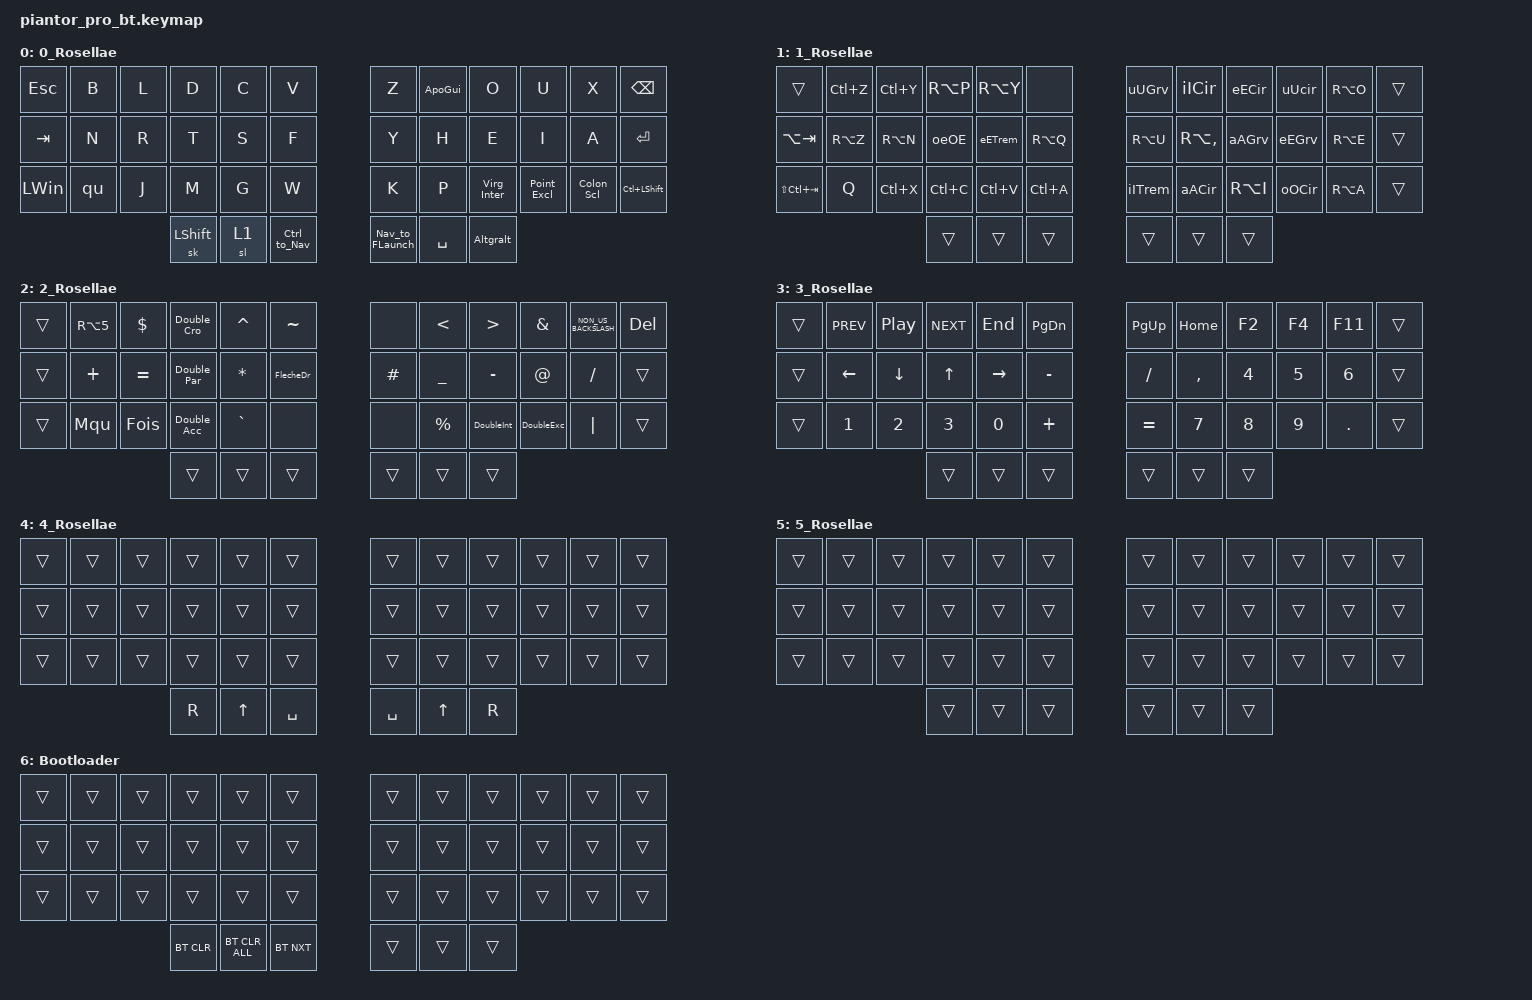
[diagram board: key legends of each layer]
/*
 * Copyright (c) 2020 The ZMK Contributors
 *
 * SPDX-License-Identifier: MIT
 */

#include <behaviors.dtsi>
#include <dt-bindings/zmk/bt.h>
#include <dt-bindings/zmk/keys.h>

/ {
    chosen {
        zmk,physical-layout = &default_layout;
    };
};

/ {
    behaviors {
        Virg_Inter: Virg_Inter {
            compatible = "zmk,behavior-mod-morph";
            label = "VIRG_INTER";
            #binding-cells = <0>;
            bindings = <&kp COMMA>, <&kp QUESTION>;
            mods = <(MOD_LSFT)>;
        };

        Point_Excl: Point_Excl {
            compatible = "zmk,behavior-mod-morph";
            label = "POINT_EXCL";
            #binding-cells = <0>;
            bindings = <&kp PERIOD>, <&kp EXCL>;
            mods = <(MOD_LSFT)>;
        };

        Colon_Scl: Colon_Scl {
            compatible = "zmk,behavior-mod-morph";
            label = "COLON_SCL";
            #binding-cells = <0>;
            bindings = <&kp COLON>, <&kp SEMICOLON>;
            mods = <(MOD_LSFT)>;
        };

        ApoGui: ApoGui {
            compatible = "zmk,behavior-mod-morph";
            label = "APOGUI";
            #binding-cells = <0>;
            bindings = <&ApoSpc>, <&GuiSpc>;
            mods = <(MOD_LSFT)>;
        };

        eETrem: eETrem {
            compatible = "zmk,behavior-mod-morph";
            label = "EETREM";
            #binding-cells = <0>;
            bindings = <&eTrem>, <&cETrem>;
            mods = <(MOD_LSFT)>;
        };

        iITrem: iITrem {
            compatible = "zmk,behavior-mod-morph";
            label = "IITREM";
            #binding-cells = <0>;
            bindings = <&iTrem>, <&cITrem>;
            mods = <(MOD_LSFT)>;
        };

        iICir: iICir {
            compatible = "zmk,behavior-mod-morph";
            label = "IICIR";
            #binding-cells = <0>;
            bindings = <&iCir>, <&cICir>;
            mods = <(MOD_LSFT)>;
        };

        aACir: aACir {
            compatible = "zmk,behavior-mod-morph";
            label = "AACIR";
            #binding-cells = <0>;
            bindings = <&aCir>, <&cACir>;
            mods = <(MOD_LSFT)>;
        };

        oOCir: oOCir {
            compatible = "zmk,behavior-mod-morph";
            label = "OOCIR";
            #binding-cells = <0>;
            bindings = <&oCir>, <&cOCir>;
            mods = <(MOD_LSFT)>;
        };

        eECir: eECir {
            compatible = "zmk,behavior-mod-morph";
            label = "EECIR";
            #binding-cells = <0>;
            bindings = <&eCir>, <&cECir>;
            mods = <(MOD_LSFT)>;
        };

        uUcir: uUcir {
            compatible = "zmk,behavior-mod-morph";
            label = "UUCIR";
            #binding-cells = <0>;
            bindings = <&uCir>, <&cUcir>;
            mods = <(MOD_LSFT)>;
        };

        aAGrv: aAGrv {
            compatible = "zmk,behavior-mod-morph";
            label = "AAGRV";
            #binding-cells = <0>;
            bindings = <&aGrv>, <&cAGrv>;
            mods = <(MOD_LSFT)>;
        };

        eEGrv: eEGrv {
            compatible = "zmk,behavior-mod-morph";
            label = "EEGRV";
            #binding-cells = <0>;
            bindings = <&eGrv>, <&cEGrv>;
            mods = <(MOD_LSFT)>;
        };

        uUGrv: uUGrv {
            compatible = "zmk,behavior-mod-morph";
            label = "UUGRV";
            #binding-cells = <0>;
            bindings = <&uGrv>, <&cUGrv>;
            mods = <(MOD_LSFT)>;
        };

        oeOE: oeOE {
            compatible = "zmk,behavior-mod-morph";
            label = "OEOE";
            #binding-cells = <0>;
            bindings = <&oe>, <&cOE>;
            mods = <(MOD_LSFT)>;
        };

        Altgralt: Altgralt {
            compatible = "zmk,behavior-tap-dance";
            label = "ALTGRALT";
            #binding-cells = <0>;
            bindings = <&mo 2>, <&kp LEFT_ALT>;
        };

        Ctrl_to_Nav: Ctrl_to_Nav {
            compatible = "zmk,behavior-tap-dance";
            label = "CTRL_TO_NAV";
            #binding-cells = <0>;
            bindings = <&kp LCTRL>, <&mo 3>;
        };

        Nav_to_FLaunch: Nav_to_FLaunch {
            compatible = "zmk,behavior-tap-dance";
            label = "NAV_TO_FLAUNCH";
            #binding-cells = <0>;
            bindings = <&mo 3>, <&kp LA(SPACE)>;
        };
    };

    macros {
        qu: qu {
            compatible = "zmk,behavior-macro";
            label = "QU";
            #binding-cells = <0>;
            wait-ms = <1>;
            tap-ms = <1>;
            bindings = <&kp Q &kp U>;
        };

        Mqu: Mqu {
            compatible = "zmk,behavior-macro";
            label = "MQU";
            #binding-cells = <0>;
            wait-ms = <1>;
            tap-ms = <1>;
            bindings = <&kp LS(Q) &kp U>;
        };

        /* Literal ' : dead acute + SPACE. No held modifier. Requires host US-International. */
        ApoSpc: Apo_Gui {
            compatible = "zmk,behavior-macro";
            label = "APO_GUI";
            #binding-cells = <0>;
            wait-ms = <1>;
            tap-ms = <1>;
            bindings = <&macro_tap>, <&kp APOSTROPHE &kp SPACE>;
        };

        /* Literal " : dead diaeresis + SPACE. */
        GuiSpc: GuiSpc {
            compatible = "zmk,behavior-macro";
            label = "GUISPC";
            #binding-cells = <0>;
            wait-ms = <1>;
            tap-ms = <1>;
            bindings = <&macro_tap>, <&kp LS(APOSTROPHE) &kp SPACE>;
        };

        /* Macros ' + Voyelle pour éviter la transformation en accent aigu */
        apo_a: apo_a {
            compatible = "zmk,behavior-macro";
            label = "APO_A";
            #binding-cells = <0>;
            wait-ms = <1>;
            tap-ms = <1>;
            bindings = <&macro_tap>, <&kp APOSTROPHE &kp SPACE &kp A>;
        };

        apo_e: apo_e {
            compatible = "zmk,behavior-macro";
            label = "APO_E";
            #binding-cells = <0>;
            wait-ms = <1>;
            tap-ms = <1>;
            bindings = <&macro_tap>, <&kp APOSTROPHE &kp SPACE &kp E>;
        };

        apo_i: apo_i {
            compatible = "zmk,behavior-macro";
            label = "APO_I";
            #binding-cells = <0>;
            wait-ms = <1>;
            tap-ms = <1>;
            bindings = <&macro_tap>, <&kp APOSTROPHE &kp SPACE &kp I>;
        };

        apo_o: apo_o {
            compatible = "zmk,behavior-macro";
            label = "APO_O";
            #binding-cells = <0>;
            wait-ms = <1>;
            tap-ms = <1>;
            bindings = <&macro_tap>, <&kp APOSTROPHE &kp SPACE &kp O>;
        };

        apo_u: apo_u {
            compatible = "zmk,behavior-macro";
            label = "APO_U";
            #binding-cells = <0>;
            wait-ms = <1>;
            tap-ms = <1>;
            bindings = <&macro_tap>, <&kp APOSTROPHE &kp SPACE &kp U>;
        };

        /* Alt-code macros (host NumLock must be ON). Alt is held for ~10-20 ms. */
        oe: oe {
            compatible = "zmk,behavior-macro";
            label = "OE";
            #binding-cells = <0>;
            wait-ms = <2>;
            tap-ms = <2>;
            bindings =
                <&macro_press>,
                <&kp LEFT_ALT>,
                <&macro_tap>,
                <&kp KP_NUMBER_0 &kp KP_NUMBER_1 &kp KP_NUMBER_5 &kp KP_NUMBER_6>,
                <&macro_release>,
                <&kp LEFT_ALT>;
        };

        cOE: cOE {
            compatible = "zmk,behavior-macro";
            label = "cOE";
            #binding-cells = <0>;
            wait-ms = <2>;
            tap-ms = <2>;
            bindings =
                <&macro_press>,
                <&kp LEFT_ALT>,
                <&macro_tap>,
                <&kp KP_NUMBER_0 &kp KP_NUMBER_1 &kp KP_NUMBER_4 &kp KP_NUMBER_0>,
                <&macro_release>,
                <&kp LEFT_ALT>;
        };

        Environ: Environ {
            compatible = "zmk,behavior-macro";
            label = "ENVIRON";
            #binding-cells = <0>;
            wait-ms = <2>;
            tap-ms = <2>;
            bindings =
                <&macro_press>,
                <&kp LEFT_ALT>,
                <&macro_tap>,
                <&kp KP_NUMBER_2 &kp KP_NUMBER_4 &kp KP_NUMBER_7>,
                <&macro_release>,
                <&kp LEFT_ALT>;
        };

        Fois: Fois {
            compatible = "zmk,behavior-macro";
            label = "FOIS";
            #binding-cells = <0>;
            wait-ms = <2>;
            tap-ms = <2>;
            bindings =
                <&macro_press>,
                <&kp LEFT_ALT>,
                <&macro_tap>,
                <&kp KP_NUMBER_0 &kp KP_NUMBER_2 &kp KP_NUMBER_1 &kp KP_NUMBER_5>,
                <&macro_release>,
                <&kp LEFT_ALT>;
        };

        Tir_Point: Tir_Point {
            compatible = "zmk,behavior-macro";
            label = "TIR_POINT";
            #binding-cells = <0>;
            wait-ms = <2>;
            tap-ms = <2>;
            bindings =
                <&macro_press>,
                <&kp LEFT_ALT>,
                <&macro_tap>,
                <&kp KP_NUMBER_0 &kp KP_NUMBER_1 &kp KP_NUMBER_4 &kp KP_NUMBER_9>,
                <&macro_release>,
                <&kp LEFT_ALT>;
        };

        FlecheDr: FlecheDr {
            compatible = "zmk,behavior-macro";
            label = "FLECHEDR";
            #binding-cells = <0>;
            wait-ms = <2>;
            tap-ms = <2>;
            bindings =
                <&macro_press>,
                <&kp LEFT_ALT>,
                <&macro_tap>,
                <&kp KP_NUMBER_2 &kp KP_NUMBER_6>,
                <&macro_release>,
                <&kp LEFT_ALT>;
        };

        /* Dead-key accents, lowercase */
        eTrem: eTrem {
            compatible = "zmk,behavior-macro";
            label = "ETREM";
            #binding-cells = <0>;
            wait-ms = <1>;
            tap-ms = <1>;
            bindings = <&kp LS(APOSTROPHE) &kp E>;
        };

        iTrem: iTrem {
            compatible = "zmk,behavior-macro";
            label = "ITREM";
            #binding-cells = <0>;
            wait-ms = <1>;
            tap-ms = <1>;
            bindings = <&kp LS(APOSTROPHE) &kp I>;
        };

        iCir: iCir {
            compatible = "zmk,behavior-macro";
            label = "ICIR";
            #binding-cells = <0>;
            wait-ms = <1>;
            tap-ms = <1>;
            bindings = <&kp CARET &kp I>;
        };

        aCir: aCir {
            compatible = "zmk,behavior-macro";
            label = "ACIR";
            #binding-cells = <0>;
            wait-ms = <1>;
            tap-ms = <1>;
            bindings = <&kp CARET &kp A>;
        };

        oCir: oCir {
            compatible = "zmk,behavior-macro";
            label = "OCIR";
            #binding-cells = <0>;
            wait-ms = <1>;
            tap-ms = <1>;
            bindings = <&kp CARET &kp O>;
        };

        eCir: eCir {
            compatible = "zmk,behavior-macro";
            label = "ECIR";
            #binding-cells = <0>;
            wait-ms = <1>;
            tap-ms = <1>;
            bindings = <&kp CARET &kp E>;
        };

        uCir: uCir {
            compatible = "zmk,behavior-macro";
            label = "UCIR";
            #binding-cells = <0>;
            wait-ms = <1>;
            tap-ms = <1>;
            bindings = <&kp CARET &kp U>;
        };

        aGrv: aGrv {
            compatible = "zmk,behavior-macro";
            label = "AGRV";
            #binding-cells = <0>;
            wait-ms = <1>;
            tap-ms = <1>;
            bindings = <&kp GRAVE &kp A>;
        };

        eGrv: eGrv {
            compatible = "zmk,behavior-macro";
            label = "EGRV";
            #binding-cells = <0>;
            wait-ms = <1>;
            tap-ms = <1>;
            bindings = <&kp GRAVE &kp E>;
        };

        uGrv: uGrv {
            compatible = "zmk,behavior-macro";
            label = "UGRV";
            #binding-cells = <0>;
            wait-ms = <1>;
            tap-ms = <1>;
            bindings = <&kp GRAVE &kp U>;
        };

        /* Dead-key accents, uppercase */
        cETrem: cETrem {
            compatible = "zmk,behavior-macro";
            label = "cETrem";
            #binding-cells = <0>;
            wait-ms = <1>;
            tap-ms = <1>;
            bindings = <&kp LS(APOSTROPHE) &kp LS(E)>;
        };

        cITrem: cITrem {
            compatible = "zmk,behavior-macro";
            label = "cITrem";
            #binding-cells = <0>;
            wait-ms = <1>;
            tap-ms = <1>;
            bindings = <&kp LS(APOSTROPHE) &kp LS(I)>;
        };

        cICir: cICir {
            compatible = "zmk,behavior-macro";
            label = "cICir";
            #binding-cells = <0>;
            wait-ms = <1>;
            tap-ms = <1>;
            bindings = <&kp CARET &kp LS(I)>;
        };

        cACir: cACir {
            compatible = "zmk,behavior-macro";
            label = "cACir";
            #binding-cells = <0>;
            wait-ms = <1>;
            tap-ms = <1>;
            bindings = <&kp CARET &kp LS(A)>;
        };

        cOCir: cOCir {
            compatible = "zmk,behavior-macro";
            label = "cOCir";
            #binding-cells = <0>;
            wait-ms = <1>;
            tap-ms = <1>;
            bindings = <&kp CARET &kp LS(O)>;
        };

        cECir: cECir {
            compatible = "zmk,behavior-macro";
            label = "cECir";
            #binding-cells = <0>;
            wait-ms = <1>;
            tap-ms = <1>;
            bindings = <&kp CARET &kp LS(E)>;
        };

        cUcir: cUcir {
            compatible = "zmk,behavior-macro";
            label = "cUcir";
            #binding-cells = <0>;
            wait-ms = <1>;
            tap-ms = <1>;
            bindings = <&kp CARET &kp LS(U)>;
        };

        cAGrv: cAGrv {
            compatible = "zmk,behavior-macro";
            label = "cAGrv";
            #binding-cells = <0>;
            wait-ms = <1>;
            tap-ms = <1>;
            bindings = <&kp GRAVE &kp LS(A)>;
        };

        cEGrv: cEGrv {
            compatible = "zmk,behavior-macro";
            label = "cEGrv";
            #binding-cells = <0>;
            wait-ms = <1>;
            tap-ms = <1>;
            bindings = <&kp GRAVE &kp LS(E)>;
        };

        cUGrv: cUGrv {
            compatible = "zmk,behavior-macro";
            label = "cUGrv";
            #binding-cells = <0>;
            wait-ms = <1>;
            tap-ms = <1>;
            bindings = <&kp GRAVE &kp LS(U)>;
        };

        /* Paired delimiters: type pair, step cursor back inside */
        Double_Par: Double_Par {
            compatible = "zmk,behavior-macro";
            label = "Double_Par";
            #binding-cells = <0>;
            wait-ms = <1>;
            tap-ms = <1>;
            bindings = <&macro_tap>, <&kp LEFT_PARENTHESIS &kp RIGHT_PARENTHESIS &kp LEFT>;
        };

        Double_Cro: Double_Cro {
            compatible = "zmk,behavior-macro";
            label = "Double_Cro";
            #binding-cells = <0>;
            wait-ms = <1>;
            tap-ms = <1>;
            bindings = <&macro_tap>, <&kp LEFT_BRACKET &kp RIGHT_BRACKET &kp LEFT>;
        };

        Double_Acc: Double_Acc {
            compatible = "zmk,behavior-macro";
            label = "Double_Acc";
            #binding-cells = <0>;
            wait-ms = <1>;
            tap-ms = <1>;
            bindings = <&macro_tap>, <&kp LEFT_BRACE &kp RIGHT_BRACE &kp LEFT>;
        };

        DoubleInt: DoubleInt {
            compatible = "zmk,behavior-macro";
            label = "DOUBLEINT";
            #binding-cells = <0>;
            wait-ms = <1>;
            tap-ms = <1>;
            bindings = <&macro_tap>, <&kp RA(SLASH) &kp QUESTION &kp LEFT>;
        };

        DoubleExc: DoubleExc {
            compatible = "zmk,behavior-macro";
            label = "DOUBLEEXC";
            #binding-cells = <0>;
            wait-ms = <1>;
            tap-ms = <1>;
            bindings = <&macro_tap>, <&kp RA(N1) &kp EXCL &kp LEFT>;
        };

        /* "où " : O + dead grave + U + SPACE */
        ougrv: ougrv {
            compatible = "zmk,behavior-macro";
            label = "OUGRV";
            #binding-cells = <0>;
            wait-ms = <1>;
            tap-ms = <1>;
            bindings = <&macro_tap>, <&kp O &kp GRAVE &kp U &kp SPACE>;
        };
    };

    combos {
        compatible = "zmk,combos";

        Power {
            bindings = <&kp LA(F4)>;
            key-positions = <39 40 41>;
            layers = <1 0 3 4 2 5>;
        };

        ScreenShot {
            bindings = <&kp LG(LS(S))>;
            key-positions = <2 3 4>;
            layers = <1 0 3 2 4 5>;
        };

        ougrvc {
            bindings = <&ougrv>;
            key-positions = <7 8 9>;
        };

        ActBoot {
            bindings = <&tog 6>;
            key-positions = <13 14 15 16 17>;
        };

        combo_apo_a {
            bindings = <&apo_a>;
            key-positions = <7 22>;
            layers = <0>;
        };

        combo_apo_e {
            bindings = <&apo_e>;
            key-positions = <7 20>;
            layers = <0>;
        };

        combo_apo_i {
            bindings = <&apo_i>;
            key-positions = <7 21>;
            layers = <0>;
        };

        combo_apo_o {
            bindings = <&apo_o>;
            key-positions = <7 8>;
            layers = <0>;
        };

        combo_apo_u {
            bindings = <&apo_u>;
            key-positions = <7 9>;
            layers = <0>;
        };
    };

    keymap {
        compatible = "zmk,keymap";

        Layer0_Base {
            display-name = "0_Rosellae";
            bindings = <
&kp ESCAPE      &kp B   &kp L         &kp D             &kp C       &kp V   &kp Z  &ApoGui  &kp O        &kp U          &kp X        &kp BSPC
&kp TAB         &kp N   &kp R         &kp T             &kp S       &kp F   &kp Y  &kp H    &kp E        &kp I          &kp A        &kp ENTER
&kp LEFT_WIN    &qu     &kp J         &kp M             &kp G       &kp W   &kp K  &kp P    &Virg_Inter  &Point_Excl    &Colon_Scl   &kp LC(LSHIFT)
&sk LEFT_SHIFT  &sl 1   &Ctrl_to_Nav  &Nav_to_FLaunch   &kp SPACE   &Altgralt
            >;
        };

        Layer1_Accents {
            display-name = "1_Rosellae";
            bindings = <
&trans            &kp LC(Z)  &kp LC(Y)  &kp RA(P)  &kp RA(Y)  &none       &uUGrv    &iICir    &eECir        &uUcir    &kp RA(O)  &trans
&kp LA(TAB)       &kp RA(Z)  &kp RA(N)  &oeOE      &eETrem    &kp RA(Q)   &kp RA(U) &kp RA(COMMA) &aAGrv    &eEGrv    &kp RA(E)  &trans
&kp LS(LC(TAB))   &kp Q      &kp LC(X)  &kp LC(C)  &kp LC(V)  &kp LC(A)   &iITrem   &aACir    &kp RA(I)     &oOCir    &kp RA(A)  &trans
&trans            &trans     &trans     &trans     &trans     &trans
            >;
        };

        Layer2_Symbol {
            display-name = "2_Rosellae";
            bindings = <
&trans  &kp RA(N5)  &kp DOLLAR  &Double_Cro  &kp CARET     &kp TILDE  &none   &kp LESS_THAN  &kp GREATER_THAN  &kp AMPERSAND  &kp NON_US_BACKSLASH  &kp DELETE
&trans  &kp PLUS    &kp EQUAL   &Double_Par  &kp ASTERISK  &FlecheDr  &kp HASH &kp UNDERSCORE &kp MINUS        &kp AT_SIGN    &kp SLASH             &trans
&trans  &Mqu        &Fois       &Double_Acc  &kp GRAVE     &none      &none   &kp PERCENT    &DoubleInt        &DoubleExc     &kp PIPE              &trans
&trans  &trans      &trans      &trans       &trans        &trans
            >;
        };

        Layer3_Nav {
            display-name = "3_Rosellae";
            bindings = <
&trans  &kp C_PREV  &kp C_PLAY_PAUSE  &kp C_NEXT  &kp END    &kp PAGE_DOWN  &kp PG_UP  &kp HOME   &kp F2   &kp F4   &kp F11     &trans
&trans  &kp LEFT    &kp DOWN          &kp UP      &kp RIGHT  &kp MINUS      &kp SLASH  &kp COMMA  &kp N4   &kp N5   &kp N6      &trans
&trans  &kp N1      &kp N2            &kp N3      &kp N0     &kp PLUS       &kp EQUAL  &kp N7     &kp N8   &kp N9   &kp PERIOD  &trans
&trans  &trans      &trans            &trans      &trans     &trans
            >;
        };

        Layer4_Gaming {
            display-name = "4_Rosellae";
            bindings = <
&trans  &trans  &trans  &trans  &trans  &trans  &trans  &trans  &trans  &trans  &trans  &trans
&trans  &trans  &trans  &trans  &trans  &trans  &trans  &trans  &trans  &trans  &trans  &trans
&trans  &trans  &trans  &trans  &trans  &trans  &trans  &trans  &trans  &trans  &trans  &trans
&kp R   &kp UP  &kp SPACE  &kp SPACE  &kp UP  &kp R
            >;
        };

        Layer5_Arabic {
            display-name = "5_Rosellae";
            bindings = <
&trans  &trans  &trans  &trans  &trans  &trans  &trans  &trans  &trans  &trans  &trans  &trans
&trans  &trans  &trans  &trans  &trans  &trans  &trans  &trans  &trans  &trans  &trans  &trans
&trans  &trans  &trans  &trans  &trans  &trans  &trans  &trans  &trans  &trans  &trans  &trans
&trans  &trans  &trans  &trans  &trans  &trans
            >;
        };

        Bootloader {
            display-name = "Bootloader";
            bindings = <
&trans  &trans  &trans  &trans  &trans  &trans  &trans  &trans  &trans  &trans  &trans  &trans
&trans  &trans  &trans  &trans  &trans  &trans  &trans  &trans  &trans  &trans  &trans  &trans
&trans  &trans  &trans  &trans  &trans  &trans  &trans  &trans  &trans  &trans  &trans  &trans
&bt BT_CLR  &bt BT_CLR_ALL  &bt BT_NXT  &trans  &trans  &trans
            >;
        };
    };
};
